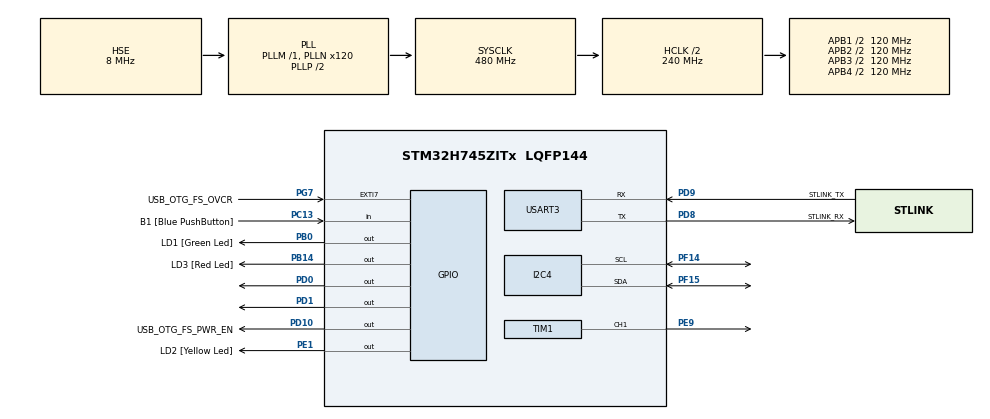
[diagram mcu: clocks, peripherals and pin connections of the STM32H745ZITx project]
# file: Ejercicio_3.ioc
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CortexM4.IPs=FATFS_M4\:I,FREERTOS_M4\:I,IWDG2\:I,RCC,WWDG2\:I,DMA,BDMA,MDMA,NVIC2\:I,USART3,DEBUG,USB_DEVICE_M4\:I,USB_HOST_M4\:I,PDM2PCM_M4\:I,PWR,RESMGR_UTILITY,SYS_M4\:I,CORTEX_M4\:I,OPENAMP_M4\:I,VREFBUF,GPIO
CortexM7.IPs=FATFS_M7\:I,FREERTOS_M7\:I,IWDG1\:I,RCC\:I,WWDG1\:I,DMA\:I,BDMA\:I,MDMA\:I,NVIC1\:I,SYS\:I,USART3\:I,CORTEX_M7\:I,DEBUG\:I,USB_DEVICE_M7\:I,USB_HOST_M7\:I,PDM2PCM_M7\:I,PWR\:I,RESMGR_UTILITY\:I,OPENAMP_M7\:I,VREFBUF\:I,GPIO\:I,TIM2\:I,I2C4\:I,TIM1\:I,TIM5\:I
CortexM7.Pins=PB0,PD0,PD1
I2C4.Timing=0x307075B1
Mcu.Family=STM32H7
Mcu.Name=STM32H745ZITx
Mcu.Package=LQFP144
NVIC1.PriorityGroup=NVIC_PRIORITYGROUP_4
NVIC1.TIM2_IRQn=true\:0\:0\:false\:false\:true\:true\:true\:true
NVIC2.PriorityGroup=NVIC_PRIORITYGROUP_4
PA1.PinAttribute=CortexM4
PA1.Signal=ETH_REF_CLK
PA11.PinAttribute=CortexM7
PA11.Signal=USB_OTG_FS_DM
PA12.PinAttribute=CortexM7
PA12.Signal=USB_OTG_FS_DP
PA2.PinAttribute=CortexM4
PA2.Signal=ETH_MDIO
PA7.PinAttribute=CortexM4
PA7.Signal=ETH_CRS_DV
PA8.PinAttribute=CortexM7
PA8.Signal=USB_OTG_FS_SOF
PA9.PinAttribute=CortexM7
PA9.Signal=USB_OTG_FS_VBUS
PB0.GPIO_Label=LD1 [Green Led]
PB0.GPIO_PuPd=GPIO_PULLDOWN
PB0.GPIO_Speed=GPIO_SPEED_FREQ_HIGH
PB0.PinAttribute=CortexM7
PB0.Signal=GPIO_Output
PB13.PinAttribute=CortexM4
PB13.Signal=ETH_TXD1
PB14.GPIO_Label=LD3 [Red Led]
PB14.PinAttribute=Free
PB14.Signal=GPIO_Output
PC1.PinAttribute=CortexM4
PC1.Signal=ETH_MDC
PC13.GPIO_Label=B1 [Blue PushButton]
PC13.PinAttribute=Free
PC13.Signal=GPIO_Input
PC14-OSC32_IN\ (OSC32_IN).Mode=LSE-External-Oscillator
PC14-OSC32_IN\ (OSC32_IN).PinAttribute=CortexM7
PC14-OSC32_IN\ (OSC32_IN).Signal=RCC_OSC32_IN
PC15-OSC32_OUT\ (OSC32_OUT).Mode=LSE-External-Oscillator
PC15-OSC32_OUT\ (OSC32_OUT).PinAttribute=CortexM7
PC15-OSC32_OUT\ (OSC32_OUT).Signal=RCC_OSC32_OUT
PC4.PinAttribute=CortexM4
PC4.Signal=ETH_RXD0
PC5.PinAttribute=CortexM4
PC5.Signal=ETH_RXD1
PD0.GPIO_PuPd=GPIO_PULLDOWN
PD0.GPIO_Speed=GPIO_SPEED_FREQ_HIGH
PD0.PinAttribute=CortexM7
PD0.Signal=GPIO_Output
PD1.GPIO_PuPd=GPIO_PULLDOWN
PD1.GPIO_Speed=GPIO_SPEED_FREQ_HIGH
PD1.PinAttribute=CortexM7
PD1.Signal=GPIO_Output
PD10.GPIO_Label=USB_OTG_FS_PWR_EN
PD10.PinAttribute=Free
PD10.Signal=GPIO_Output
PD8.GPIO_Label=STLINK_RX
PD8.Mode=Asynchronous
PD8.PinAttribute=CortexM7
PD8.Signal=USART3_TX
PD9.GPIO_Label=STLINK_TX
PD9.Mode=Asynchronous
PD9.PinAttribute=CortexM7
PD9.Signal=USART3_RX
PE1.GPIO_Label=LD2 [Yellow Led]
PE1.PinAttribute=Free
PE1.Signal=GPIO_Output
PE9.PinAttribute=CortexM7
PE9.Signal=S_TIM1_CH1
PF14.Mode=I2C
PF14.PinAttribute=CortexM7
PF14.Signal=I2C4_SCL
PF15.Mode=I2C
PF15.PinAttribute=CortexM7
PF15.Signal=I2C4_SDA
PG11.PinAttribute=CortexM4
PG11.Signal=ETH_TX_EN
PG13.PinAttribute=CortexM4
PG13.Signal=ETH_TXD0
PG7.GPIO_Label=USB_OTG_FS_OVCR
PG7.PinAttribute=Free
PG7.Signal=GPXTI7
PH0-OSC_IN\ (PH0).Mode=HSE-External-Clock-Source
PH0-OSC_IN\ (PH0).PinAttribute=CortexM7
PH0-OSC_IN\ (PH0).Signal=RCC_OSC_IN
PH1-OSC_OUT\ (PH1).PinAttribute=CortexM7
PH1-OSC_OUT\ (PH1).Signal=RCC_OSC_OUT
ProjectManager.HeapSize=M4-0x200,M7-0x200
ProjectManager.StackSize=M4-0x400,M7-0x400
ProjectManager.TargetToolchain=STM32CubeIDE
RCC.ADCFreq_Value=16125000
RCC.APB1Freq_Value=120000000
RCC.APB2Freq_Value=120000000
RCC.APB3Freq_Value=120000000
RCC.APB4Freq_Value=120000000
RCC.CortexFreq_Value=480000000
RCC.D1PPRE=RCC_APB3_DIV2
RCC.D2PPRE1=RCC_APB1_DIV2
RCC.D2PPRE2=RCC_APB2_DIV2
RCC.D3PPRE=RCC_APB4_DIV2
RCC.DIVM1=1
RCC.DIVM3=1
RCC.DIVN1=120
RCC.DIVN3=24
RCC.DIVQ3=4
RCC.HCLKFreq_Value=240000000
RCC.HPRE=RCC_HCLK_DIV2
RCC.HSE_VALUE=8000000
RCC.PLL2FRACN=0
RCC.PLL3FRACN=0
RCC.PLLFRACN=0
RCC.PLLSourceVirtual=RCC_PLLSOURCE_HSE
RCC.SYSCLKFreq_VALUE=480000000
RCC.SYSCLKSource=RCC_SYSCLKSOURCE_PLLCLK
RCC.SupplySource=PWR_DIRECT_SMPS_SUPPLY
RCC.USBCLockSelection=RCC_USBCLKSOURCE_PLL3
RCC.USBFreq_Value=48000000
SH.S_TIM1_CH1.0=TIM1_CH1,PWM Generation1 CH1
TIM1.AutoReloadPreload=TIM_AUTORELOAD_PRELOAD_ENABLE
TIM1.Channel-PWM\ Generation1\ CH1=TIM_CHANNEL_1
TIM1.Period=100
TIM1.Prescaler=240
TIM2.AutoReloadPreload=TIM_AUTORELOAD_PRELOAD_DISABLE
TIM2.Period=31249
TIM2.Prescaler=239
TIM5.Prescaler=240
USART3.VirtualMode-Asynchronous=VM_ASYNC
VP_SYS_M4_VS_Systick.Mode=SysTick
VP_TIM1_VS_ClockSourceINT.Mode=Internal
VP_TIM2_VS_ClockSourceINT.Mode=Internal
VP_TIM5_VS_ClockSourceINT.Mode=Internal
board=NUCLEO-H745ZI-Q

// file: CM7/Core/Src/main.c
/* USER CODE BEGIN Header */
/**
  ******************************************************************************
  * @file           : main.c
  * @brief          : Main program body
  ******************************************************************************
  * @attention
  *
  * Copyright (c) 2022 STMicroelectronics.
  * All rights reserved.
  *
  * This software is licensed under terms that can be found in the LICENSE file
  * in the root directory of this software component.
  * If no LICENSE file comes with this software, it is provided AS-IS.
  *
  ******************************************************************************
  */
/* USER CODE END Header */
#include "main.h"

/* USER CODE BEGIN Includes */
#include <stdio.h>
#include <string.h>
/* USER CODE END Includes */

/* USER CODE BEGIN PTD */
#define MPU6050_ADDR 0xD0
#define WHO_AM_I 0x75
#define SMPLRT_DIV 0x19
#define GYRO_CONFIG 0x1B
#define ACCEL_CONFIG 0x1C
#define ACCEL_XOUT_H 0x3B
#define TEMP_OUT_H 0x41
#define GYRO_XOUT_H 0x43
#define PWR_MGMT_1 0x6B

/* USER CODE END PTD */

/* USER CODE BEGIN PD */

#ifndef HSEM_ID_0
#define HSEM_ID_0 (0U) /* HW semaphore 0*/
#endif
/* USER CODE END PD */

I2C_HandleTypeDef hi2c4;

TIM_HandleTypeDef htim1;
TIM_HandleTypeDef htim2;
TIM_HandleTypeDef htim5;

UART_HandleTypeDef huart3;

/* USER CODE BEGIN PV */
// Duty Cycle del motor
int16_t dutyCycle = 40;

// Lectura del MPU6050
uint8_t check, data;

int16_t acc_X_read = 0;
int16_t acc_Y_read = 0;
int16_t acc_Z_read = 0;
int16_t gyr_X_read = 0;
int16_t gyr_Y_read = 0;
int16_t gyr_Z_read = 0;

float acc_X, acc_Y, acc_Z, gyr_X, gyr_Y, gyr_Z;

// Variables para el muestreo
int16_t limite_muestras = 32;
int16_t n_muestras = 0;
float muestras40_x[32],  muestras40_y[32], muestras40_z[32];
float muestras60_x[32],  muestras60_y[32], muestras60_z[32];
float muestras80_x[32],  muestras80_y[32], muestras80_z[32];

HAL_StatusTypeDef status;

// Variables UART
char uart_buf[50];
uint16_t uart_buf_len;

// Variables de conprobación de tiempo
unsigned timer_val;
/* USER CODE END PV */

void SystemClock_Config(void);
static void MX_GPIO_Init(void);
static void MX_USART3_UART_Init(void);
static void MX_I2C4_Init(void);
static void MX_TIM2_Init(void);
static void MX_TIM1_Init(void);
static void MX_TIM5_Init(void);
/* USER CODE BEGIN PFP */
void MPU6050_init(void);
void MPU6050_read_gyro(void);
void changeCycle(void);
/* USER CODE END PFP */

int main(void)
{
/* USER CODE BEGIN Boot_Mode_Sequence_0 */
  int32_t timeout;
/* USER CODE END Boot_Mode_Sequence_0 */

/* USER CODE BEGIN Boot_Mode_Sequence_1 */
  /* Wait until CPU2 boots and enters in stop mode or timeout*/
  timeout = 0xFFFF;
  while((__HAL_RCC_GET_FLAG(RCC_FLAG_D2CKRDY) != RESET) && (timeout-- > 0));
  if ( timeout < 0 )
  {
  Error_Handler();
  }
/* USER CODE END Boot_Mode_Sequence_1 */
  /* MCU Configuration--------------------------------------------------------*/

  /* Reset of all peripherals, Initializes the Flash interface and the Systick. */
  HAL_Init();

  /* Configure the system clock */
  SystemClock_Config();
/* USER CODE BEGIN Boot_Mode_Sequence_2 */
/* When system initialization is finished, Cortex-M7 will release Cortex-M4 by means of
HSEM notification */
/*HW semaphore Clock enable*/
__HAL_RCC_HSEM_CLK_ENABLE();
/*Take HSEM */
HAL_HSEM_FastTake(HSEM_ID_0);
/*Release HSEM in order to notify the CPU2(CM4)*/
HAL_HSEM_Release(HSEM_ID_0,0);
/* wait until CPU2 wakes up from stop mode */
timeout = 0xFFFF;
while((__HAL_RCC_GET_FLAG(RCC_FLAG_D2CKRDY) == RESET) && (timeout-- > 0));
if ( timeout < 0 )
{
Error_Handler();
}
/* USER CODE END Boot_Mode_Sequence_2 */

  /* Initialize all configured peripherals */
  MX_GPIO_Init();
  MX_USART3_UART_Init();
  MX_I2C4_Init();
  MX_TIM2_Init();
  MX_TIM1_Init();
  MX_TIM5_Init();
  /* USER CODE BEGIN 2 */
  // Incialización del timer 5
  HAL_TIM_Base_Start(&htim5);

  // Inicialización del PWM
  HAL_GPIO_WritePin(GPIOD, GPIO_PIN_0, SET);
  HAL_GPIO_WritePin(GPIOD, GPIO_PIN_1, RESET);
  HAL_TIM_PWM_Init(&htim1);
  HAL_TIM_PWM_Start(&htim1, TIM_CHANNEL_1);
  TIM1->CCR1 = 100;

  // Revisión de conexión del MPU6050
  HAL_StatusTypeDef status;
  status = HAL_I2C_IsDeviceReady(&hi2c4, MPU6050_ADDR, 1, 3000);
  if (status == HAL_OK) HAL_GPIO_WritePin(GPIOB, GPIO_PIN_0, SET);
  else HAL_GPIO_WritePin(GPIOB, GPIO_PIN_14, SET);
  HAL_Delay(500);

  // Prueba de comunicación UART
  uart_buf_len = sprintf(uart_buf, "MPU6050 test\r\n");
  HAL_UART_Transmit(&huart3, &uart_buf, uart_buf_len, 100);

  // Inicialización del MPU6050
  MPU6050_init();

  // Inicialización de la interrupción por timer
  HAL_TIM_Base_Start_IT(&htim2);

  /* USER CODE END 2 */

  /* Infinite loop */
  while (1)
  {

  }
}

void SystemClock_Config(void)
{
  RCC_OscInitTypeDef RCC_OscInitStruct = {0};
  RCC_ClkInitTypeDef RCC_ClkInitStruct = {0};

  /** Supply configuration update enable
  */
  HAL_PWREx_ConfigSupply(PWR_DIRECT_SMPS_SUPPLY);

  /** Configure the main internal regulator output voltage
  */
  __HAL_PWR_VOLTAGESCALING_CONFIG(PWR_REGULATOR_VOLTAGE_SCALE0);

  while(!__HAL_PWR_GET_FLAG(PWR_FLAG_VOSRDY)) {}

  /** Initializes the RCC Oscillators according to the specified parameters
  * in the RCC_OscInitTypeDef structure.
  */
  RCC_OscInitStruct.OscillatorType = RCC_OSCILLATORTYPE_HSE;
  RCC_OscInitStruct.HSEState = RCC_HSE_BYPASS;
  RCC_OscInitStruct.PLL.PLLState = RCC_PLL_ON;
  RCC_OscInitStruct.PLL.PLLSource = RCC_PLLSOURCE_HSE;
  RCC_OscInitStruct.PLL.PLLM = 1;
  RCC_OscInitStruct.PLL.PLLN = 120;
  RCC_OscInitStruct.PLL.PLLP = 2;
  RCC_OscInitStruct.PLL.PLLQ = 2;
  RCC_OscInitStruct.PLL.PLLR = 2;
  RCC_OscInitStruct.PLL.PLLRGE = RCC_PLL1VCIRANGE_3;
  RCC_OscInitStruct.PLL.PLLVCOSEL = RCC_PLL1VCOWIDE;
  RCC_OscInitStruct.PLL.PLLFRACN = 0;
  if (HAL_RCC_OscConfig(&RCC_OscInitStruct) != HAL_OK)
  {
    Error_Handler();
  }

  /** Initializes the CPU, AHB and APB buses clocks
  */
  RCC_ClkInitStruct.ClockType = RCC_CLOCKTYPE_HCLK|RCC_CLOCKTYPE_SYSCLK
                              |RCC_CLOCKTYPE_PCLK1|RCC_CLOCKTYPE_PCLK2
                              |RCC_CLOCKTYPE_D3PCLK1|RCC_CLOCKTYPE_D1PCLK1;
  RCC_ClkInitStruct.SYSCLKSource = RCC_SYSCLKSOURCE_PLLCLK;
  RCC_ClkInitStruct.SYSCLKDivider = RCC_SYSCLK_DIV1;
  RCC_ClkInitStruct.AHBCLKDivider = RCC_HCLK_DIV2;
  RCC_ClkInitStruct.APB3CLKDivider = RCC_APB3_DIV2;
  RCC_ClkInitStruct.APB1CLKDivider = RCC_APB1_DIV2;
  RCC_ClkInitStruct.APB2CLKDivider = RCC_APB2_DIV2;
  RCC_ClkInitStruct.APB4CLKDivider = RCC_APB4_DIV2;

  if (HAL_RCC_ClockConfig(&RCC_ClkInitStruct, FLASH_LATENCY_4) != HAL_OK)
  {
    Error_Handler();
  }
}

static void MX_I2C4_Init(void)
{

  hi2c4.Instance = I2C4;
  hi2c4.Init.Timing = 0x307075B1;
  hi2c4.Init.OwnAddress1 = 0;
  hi2c4.Init.AddressingMode = I2C_ADDRESSINGMODE_7BIT;
  hi2c4.Init.DualAddressMode = I2C_DUALADDRESS_DISABLE;
  hi2c4.Init.OwnAddress2 = 0;
  hi2c4.Init.OwnAddress2Masks = I2C_OA2_NOMASK;
  hi2c4.Init.GeneralCallMode = I2C_GENERALCALL_DISABLE;
  hi2c4.Init.NoStretchMode = I2C_NOSTRETCH_DISABLE;
  if (HAL_I2C_Init(&hi2c4) != HAL_OK)
  {
    Error_Handler();
  }

  /** Configure Analogue filter
  */
  if (HAL_I2CEx_ConfigAnalogFilter(&hi2c4, I2C_ANALOGFILTER_ENABLE) != HAL_OK)
  {
    Error_Handler();
  }

  /** Configure Digital filter
  */
  if (HAL_I2CEx_ConfigDigitalFilter(&hi2c4, 0) != HAL_OK)
  {
    Error_Handler();
  }

}

static void MX_TIM1_Init(void)
{

  TIM_ClockConfigTypeDef sClockSourceConfig = {0};
  TIM_MasterConfigTypeDef sMasterConfig = {0};
  TIM_OC_InitTypeDef sConfigOC = {0};
  TIM_BreakDeadTimeConfigTypeDef sBreakDeadTimeConfig = {0};

  htim1.Instance = TIM1;
  htim1.Init.Prescaler = 240;
  htim1.Init.CounterMode = TIM_COUNTERMODE_UP;
  htim1.Init.Period = 100;
  htim1.Init.ClockDivision = TIM_CLOCKDIVISION_DIV1;
  htim1.Init.RepetitionCounter = 0;
  htim1.Init.AutoReloadPreload = TIM_AUTORELOAD_PRELOAD_ENABLE;
  if (HAL_TIM_Base_Init(&htim1) != HAL_OK)
  {
    Error_Handler();
  }
  sClockSourceConfig.ClockSource = TIM_CLOCKSOURCE_INTERNAL;
  if (HAL_TIM_ConfigClockSource(&htim1, &sClockSourceConfig) != HAL_OK)
  {
    Error_Handler();
  }
  if (HAL_TIM_PWM_Init(&htim1) != HAL_OK)
  {
    Error_Handler();
  }
  sMasterConfig.MasterOutputTrigger = TIM_TRGO_RESET;
  sMasterConfig.MasterOutputTrigger2 = TIM_TRGO2_RESET;
  sMasterConfig.MasterSlaveMode = TIM_MASTERSLAVEMODE_DISABLE;
  if (HAL_TIMEx_MasterConfigSynchronization(&htim1, &sMasterConfig) != HAL_OK)
  {
    Error_Handler();
  }
  sConfigOC.OCMode = TIM_OCMODE_PWM1;
  sConfigOC.Pulse = 0;
  sConfigOC.OCPolarity = TIM_OCPOLARITY_HIGH;
  sConfigOC.OCNPolarity = TIM_OCNPOLARITY_HIGH;
  sConfigOC.OCFastMode = TIM_OCFAST_DISABLE;
  sConfigOC.OCIdleState = TIM_OCIDLESTATE_RESET;
  sConfigOC.OCNIdleState = TIM_OCNIDLESTATE_RESET;
  if (HAL_TIM_PWM_ConfigChannel(&htim1, &sConfigOC, TIM_CHANNEL_1) != HAL_OK)
  {
    Error_Handler();
  }
  sBreakDeadTimeConfig.OffStateRunMode = TIM_OSSR_DISABLE;
  sBreakDeadTimeConfig.OffStateIDLEMode = TIM_OSSI_DISABLE;
  sBreakDeadTimeConfig.LockLevel = TIM_LOCKLEVEL_OFF;
  sBreakDeadTimeConfig.DeadTime = 0;
  sBreakDeadTimeConfig.BreakState = TIM_BREAK_DISABLE;
  sBreakDeadTimeConfig.BreakPolarity = TIM_BREAKPOLARITY_HIGH;
  sBreakDeadTimeConfig.BreakFilter = 0;
  sBreakDeadTimeConfig.Break2State = TIM_BREAK2_DISABLE;
  sBreakDeadTimeConfig.Break2Polarity = TIM_BREAK2POLARITY_HIGH;
  sBreakDeadTimeConfig.Break2Filter = 0;
  sBreakDeadTimeConfig.AutomaticOutput = TIM_AUTOMATICOUTPUT_DISABLE;
  if (HAL_TIMEx_ConfigBreakDeadTime(&htim1, &sBreakDeadTimeConfig) != HAL_OK)
  {
    Error_Handler();
  }
  HAL_TIM_MspPostInit(&htim1);

}

static void MX_TIM2_Init(void)
{

  TIM_ClockConfigTypeDef sClockSourceConfig = {0};
  TIM_MasterConfigTypeDef sMasterConfig = {0};

  htim2.Instance = TIM2;
  htim2.Init.Prescaler = 239;
  htim2.Init.CounterMode = TIM_COUNTERMODE_UP;
  htim2.Init.Period = 31249;
  htim2.Init.ClockDivision = TIM_CLOCKDIVISION_DIV1;
  htim2.Init.AutoReloadPreload = TIM_AUTORELOAD_PRELOAD_DISABLE;
  if (HAL_TIM_Base_Init(&htim2) != HAL_OK)
  {
    Error_Handler();
  }
  sClockSourceConfig.ClockSource = TIM_CLOCKSOURCE_INTERNAL;
  if (HAL_TIM_ConfigClockSource(&htim2, &sClockSourceConfig) != HAL_OK)
  {
    Error_Handler();
  }
  sMasterConfig.MasterOutputTrigger = TIM_TRGO_RESET;
  sMasterConfig.MasterSlaveMode = TIM_MASTERSLAVEMODE_DISABLE;
  if (HAL_TIMEx_MasterConfigSynchronization(&htim2, &sMasterConfig) != HAL_OK)
  {
    Error_Handler();
  }

}

static void MX_TIM5_Init(void)
{

  TIM_ClockConfigTypeDef sClockSourceConfig = {0};
  TIM_MasterConfigTypeDef sMasterConfig = {0};

  htim5.Instance = TIM5;
  htim5.Init.Prescaler = 240;
  htim5.Init.CounterMode = TIM_COUNTERMODE_UP;
  htim5.Init.Period = 4294967295;
  htim5.Init.ClockDivision = TIM_CLOCKDIVISION_DIV1;
  htim5.Init.AutoReloadPreload = TIM_AUTORELOAD_PRELOAD_DISABLE;
  if (HAL_TIM_Base_Init(&htim5) != HAL_OK)
  {
    Error_Handler();
  }
  sClockSourceConfig.ClockSource = TIM_CLOCKSOURCE_INTERNAL;
  if (HAL_TIM_ConfigClockSource(&htim5, &sClockSourceConfig) != HAL_OK)
  {
    Error_Handler();
  }
  sMasterConfig.MasterOutputTrigger = TIM_TRGO_RESET;
  sMasterConfig.MasterSlaveMode = TIM_MASTERSLAVEMODE_DISABLE;
  if (HAL_TIMEx_MasterConfigSynchronization(&htim5, &sMasterConfig) != HAL_OK)
  {
    Error_Handler();
  }

}

static void MX_USART3_UART_Init(void)
{

  huart3.Instance = USART3;
  huart3.Init.BaudRate = 115200;
  huart3.Init.WordLength = UART_WORDLENGTH_8B;
  huart3.Init.StopBits = UART_STOPBITS_1;
  huart3.Init.Parity = UART_PARITY_NONE;
  huart3.Init.Mode = UART_MODE_TX_RX;
  huart3.Init.HwFlowCtl = UART_HWCONTROL_NONE;
  huart3.Init.OverSampling = UART_OVERSAMPLING_16;
  huart3.Init.OneBitSampling = UART_ONE_BIT_SAMPLE_DISABLE;
  huart3.Init.ClockPrescaler = UART_PRESCALER_DIV1;
  huart3.AdvancedInit.AdvFeatureInit = UART_ADVFEATURE_NO_INIT;
  if (HAL_UART_Init(&huart3) != HAL_OK)
  {
    Error_Handler();
  }
  if (HAL_UARTEx_SetTxFifoThreshold(&huart3, UART_TXFIFO_THRESHOLD_1_8) != HAL_OK)
  {
    Error_Handler();
  }
  if (HAL_UARTEx_SetRxFifoThreshold(&huart3, UART_RXFIFO_THRESHOLD_1_8) != HAL_OK)
  {
    Error_Handler();
  }
  if (HAL_UARTEx_DisableFifoMode(&huart3) != HAL_OK)
  {
    Error_Handler();
  }

}

static void MX_GPIO_Init(void)
{
  GPIO_InitTypeDef GPIO_InitStruct = {0};

  /* GPIO Ports Clock Enable */
  __HAL_RCC_GPIOC_CLK_ENABLE();
  __HAL_RCC_GPIOH_CLK_ENABLE();
  __HAL_RCC_GPIOB_CLK_ENABLE();
  __HAL_RCC_GPIOF_CLK_ENABLE();
  __HAL_RCC_GPIOE_CLK_ENABLE();
  __HAL_RCC_GPIOD_CLK_ENABLE();

  /*Configure GPIO pin Output Level */
  HAL_GPIO_WritePin(LD1_GPIO_Port, LD1_Pin, GPIO_PIN_RESET);

  /*Configure GPIO pin Output Level */
  HAL_GPIO_WritePin(GPIOD, GPIO_PIN_0|GPIO_PIN_1, GPIO_PIN_RESET);

  /*Configure GPIO pin : LD1_Pin */
  GPIO_InitStruct.Pin = LD1_Pin;
  GPIO_InitStruct.Mode = GPIO_MODE_OUTPUT_PP;
  GPIO_InitStruct.Pull = GPIO_PULLDOWN;
  GPIO_InitStruct.Speed = GPIO_SPEED_FREQ_HIGH;
  HAL_GPIO_Init(LD1_GPIO_Port, &GPIO_InitStruct);

  /*Configure GPIO pins : PD0 PD1 */
  GPIO_InitStruct.Pin = GPIO_PIN_0|GPIO_PIN_1;
  GPIO_InitStruct.Mode = GPIO_MODE_OUTPUT_PP;
  GPIO_InitStruct.Pull = GPIO_PULLDOWN;
  GPIO_InitStruct.Speed = GPIO_SPEED_FREQ_HIGH;
  HAL_GPIO_Init(GPIOD, &GPIO_InitStruct);

}

/* USER CODE BEGIN 4 */
void MPU6050_init(){
	HAL_I2C_Mem_Read(&hi2c4, MPU6050_ADDR, WHO_AM_I, 1, &check, 1, 3000);
	uart_buf_len = sprintf(uart_buf, "Dirección: %u \r\n", check);
	HAL_UART_Transmit(&huart3, &uart_buf, uart_buf_len, 100);
	HAL_Delay(1000);

	data = 0x00;
	HAL_I2C_Mem_Write(&hi2c4, MPU6050_ADDR, PWR_MGMT_1, 1, &data, 1, 3000);
	data = 0b10000011;
	HAL_I2C_Mem_Write(&hi2c4, MPU6050_ADDR, SMPLRT_DIV, 1, &data, 1, 3000);
	data = 0x00;
	HAL_I2C_Mem_Write(&hi2c4, MPU6050_ADDR, GYRO_CONFIG, 1, &data, 1, 3000);
	data = 0x00;
	HAL_I2C_Mem_Write(&hi2c4, MPU6050_ADDR, ACCEL_CONFIG, 1, &data, 1, 3000);

}

void MPU6050_read_gyro(void){
	uint8_t read_gyro[6];

	HAL_I2C_Mem_Read(&hi2c4, MPU6050_ADDR, GYRO_XOUT_H, 1, read_gyro, 6, 3000);

	gyr_X_read = (int16_t)(read_gyro[0] << 8 | read_gyro[1]);
	gyr_Y_read = (int16_t)(read_gyro[2] << 8 | read_gyro[3]);
	gyr_Z_read = (int16_t)(read_gyro[4] << 8 | read_gyro[5]);

	gyr_X = gyr_X_read/131.0;
	gyr_Y = gyr_Y_read/131.0;
	gyr_Z = gyr_Z_read/131.0;
}

void HAL_TIM_PeriodElapsedCallback(TIM_HandleTypeDef *htim){
	if (htim == &htim2)
	{
		if(n_muestras == 0) timer_val = __HAL_TIM_GET_COUNTER(&htim5);
		HAL_GPIO_TogglePin(GPIOB, GPIO_PIN_14);
		MPU6050_read_gyro();

		uart_buf_len = sprintf(uart_buf, "\r\n Muestra: %u \r\n", n_muestras);
		HAL_UART_Transmit(&huart3, &uart_buf, uart_buf_len, 100);
		uart_buf_len = sprintf(uart_buf, "GyrX = %.5f °/s \r\n", gyr_X);
		HAL_UART_Transmit(&huart3, &uart_buf, uart_buf_len, 100);
		uart_buf_len = sprintf(uart_buf, "GyrY = %.5f °/s \r\n", gyr_Y);
		HAL_UART_Transmit(&huart3, &uart_buf, uart_buf_len, 100);
		uart_buf_len = sprintf(uart_buf, "GyrZ = %.5f °/s \r\n\n", gyr_Z);
		HAL_UART_Transmit(&huart3, &uart_buf, uart_buf_len, 100);

		// Guardado de muestras en los arreglos
		if(dutyCycle == 40){
			muestras40_x[n_muestras] = gyr_X;
			muestras40_y[n_muestras] = gyr_Y;
			muestras40_z[n_muestras] = gyr_Z;
		} else if(dutyCycle == 60){
			muestras60_x[n_muestras] = gyr_X;
			muestras60_y[n_muestras] = gyr_Y;
			muestras60_z[n_muestras] = gyr_Z;
		} else if(dutyCycle == 80){
			muestras80_x[n_muestras] = gyr_X;
			muestras80_y[n_muestras] = gyr_Y;
			muestras80_z[n_muestras] = gyr_Z;
		}

		n_muestras++;
		if(n_muestras == limite_muestras){
			uart_buf_len = sprintf(uart_buf, "Muestras: %u \r\n", n_muestras);
			HAL_UART_Transmit(&huart3, &uart_buf, uart_buf_len, 100);
			HAL_TIM_Base_Stop_IT(&htim2);

			// Comprobación del tiempo de muestreo
			timer_val = __HAL_TIM_GET_COUNTER(&htim5) - timer_val;
			uart_buf_len = sprintf(uart_buf, "Tiempo transcurrido: %u us\r\n", timer_val);
			HAL_UART_Transmit(&huart3, (uint8_t *)uart_buf, uart_buf_len, 100);

			changeCycle();
		}
	}
}

void changeCycle(void){
	TIM1->CCR1 = 0;
	n_muestras = 0;

	if(dutyCycle == 40){
		dutyCycle = 60;
		TIM1->CCR1 = 80;

		uart_buf_len = sprintf(uart_buf, "DUTY CYCLE: 40%");
		HAL_UART_Transmit(&huart3, &uart_buf, uart_buf_len, 100);
		uart_buf_len = sprintf(uart_buf, "\r\n Eje X: ");
		HAL_UART_Transmit(&huart3, &uart_buf, uart_buf_len, 100);
		for (int i = 0; i < limite_muestras; i++){
			uart_buf_len = sprintf(uart_buf, "%.2f, ", muestras40_x[i]);
			HAL_UART_Transmit(&huart3, &uart_buf, uart_buf_len, 100);
		}
		uart_buf_len = sprintf(uart_buf, "\r\n Eje Y: ");
		HAL_UART_Transmit(&huart3, &uart_buf, uart_buf_len, 100);
		for (int i = 0; i < limite_muestras; i++){
			uart_buf_len = sprintf(uart_buf, "%.2f, ", muestras40_y[i]);
			HAL_UART_Transmit(&huart3, &uart_buf, uart_buf_len, 100);
		}
		uart_buf_len = sprintf(uart_buf, "\r\n Eje Z: ");
		HAL_UART_Transmit(&huart3, &uart_buf, uart_buf_len, 100);
		for (int i = 0; i < limite_muestras; i++){
			uart_buf_len = sprintf(uart_buf, "%.2f, ", muestras40_z[i]);
			HAL_UART_Transmit(&huart3, &uart_buf, uart_buf_len, 100);
		}

		HAL_TIM_Base_Start_IT(&htim2);
	} else if(dutyCycle == 60){
		dutyCycle = 80;
		TIM1->CCR1 = 100;

		uart_buf_len = sprintf(uart_buf, "DUTY CYCLE: 60%");
		HAL_UART_Transmit(&huart3, &uart_buf, uart_buf_len, 100);
		uart_buf_len = sprintf(uart_buf, "\r\n Eje X: ");
		HAL_UART_Transmit(&huart3, &uart_buf, uart_buf_len, 100);
		for (int i = 0; i < limite_muestras; i++){
			uart_buf_len = sprintf(uart_buf, "%.2f, ", muestras60_x[i]);
			HAL_UART_Transmit(&huart3, &uart_buf, uart_buf_len, 100);
		}
		uart_buf_len = sprintf(uart_buf, "\r\n Eje Y: ");
		HAL_UART_Transmit(&huart3, &uart_buf, uart_buf_len, 100);
		for (int i = 0; i < limite_muestras; i++){
			uart_buf_len = sprintf(uart_buf, "%.2f, ", muestras60_y[i]);
			HAL_UART_Transmit(&huart3, &uart_buf, uart_buf_len, 100);
		}
		uart_buf_len = sprintf(uart_buf, "\r\n Eje Z: ");
		HAL_UART_Transmit(&huart3, &uart_buf, uart_buf_len, 100);
		for (int i = 0; i < limite_muestras; i++){
			uart_buf_len = sprintf(uart_buf, "%.2f, ", muestras60_z[i]);
			HAL_UART_Transmit(&huart3, &uart_buf, uart_buf_len, 100);
		}

		HAL_TIM_Base_Start_IT(&htim2);
	} else if(dutyCycle == 80){
		uart_buf_len = sprintf(uart_buf, "DUTY CYCLE: 80%");
		HAL_UART_Transmit(&huart3, &uart_buf, uart_buf_len, 100);
		uart_buf_len = sprintf(uart_buf, "\r\n Eje X: ");
		HAL_UART_Transmit(&huart3, &uart_buf, uart_buf_len, 100);
		for (int i = 0; i < limite_muestras; i++){
			uart_buf_len = sprintf(uart_buf, "%.2f, ", muestras80_x[i]);
			HAL_UART_Transmit(&huart3, &uart_buf, uart_buf_len, 100);
		}
		uart_buf_len = sprintf(uart_buf, "\r\n Eje Y: ");
		HAL_UART_Transmit(&huart3, &uart_buf, uart_buf_len, 100);
		for (int i = 0; i < limite_muestras; i++){
			uart_buf_len = sprintf(uart_buf, "%.2f, ", muestras80_y[i]);
			HAL_UART_Transmit(&huart3, &uart_buf, uart_buf_len, 100);
		}
		uart_buf_len = sprintf(uart_buf, "\r\n Eje Z: ");
		HAL_UART_Transmit(&huart3, &uart_buf, uart_buf_len, 100);
		for (int i = 0; i < limite_muestras; i++){
			uart_buf_len = sprintf(uart_buf, "%.2f, ", muestras80_z[i]);
			HAL_UART_Transmit(&huart3, &uart_buf, uart_buf_len, 100);
		}
		TIM1->CCR1 = 0;
		dutyCycle = 0;
		HAL_TIM_Base_Stop_IT(&htim2);
	}
}

/* USER CODE END 4 */

void Error_Handler(void)
{
  __disable_irq();
  while (1)
  {
  }
}
